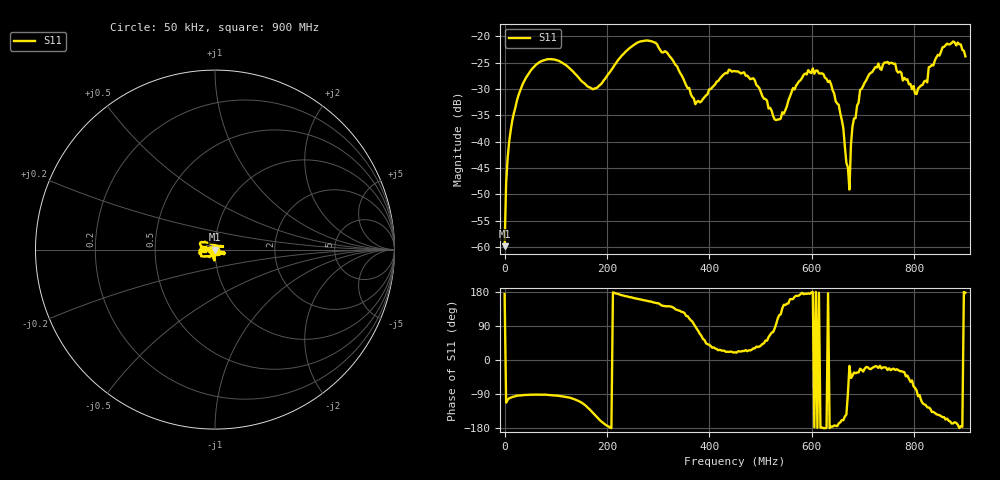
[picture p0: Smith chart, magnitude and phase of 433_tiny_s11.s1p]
# Hz S RI R 50
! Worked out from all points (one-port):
!   303 points, 50 kHz to 900 MHz, reference 50 ohm
!   lowest |S11| = -59.8 dB at 50 kHz (marker M1), VSWR 1.00, Z = 49.9 + j0.0108 ohm
!   |S11| at or under -10 dB: start of sweep to end of sweep
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50000  -0.00101 0.000108
3029900  -0.00154 -0.00371
6009900  -0.00184 -0.00679
1.49498e7  -0.00214 -0.0156
2.68696e7  -0.00191 -0.0272
6.26292e7  -0.00142 -0.0545
1.132886e8  -0.00586 -0.0556
1.728879e8  -0.0239 -0.0204
2.265273e8  -0.0625 0.00916
2.861266e8  -0.0811 0.0391
3.397661e8  -0.0315 0.0364
3.725457e8  0.000681 0.0227
4.530048e8  0.0437 0.0153
4.857844e8  0.0344 0.0203
5.304839e8  -0.00143 0.0159
5.632636e8  -0.0304 0.0107
6.020031e8  -0.0496 0.000481
6.347827e8  -0.0378 -0.000197
6.586224e8  -0.015 -0.00585
6.735222e8  0.00339 -0.000939
6.765022e8  0.00633 -0.00696
6.94382e8  0.0285 -0.0121
7.301416e8  0.0515 -0.0199
7.629212e8  0.0492 -0.0244
7.897409e8  0.0228 -0.0266
8.046407e8  0.00483 -0.0279
8.642401e8  -0.0769 -0.0367
8.999997e8  -0.0643 0.00282
